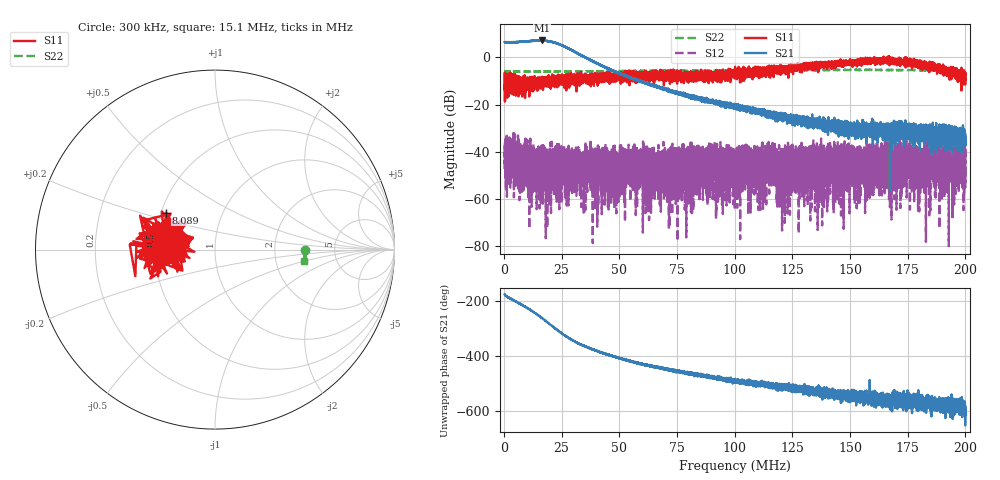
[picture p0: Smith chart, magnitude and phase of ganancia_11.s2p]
# Hz S DB R 50
! CMT, M5065, 19127446, 24.2.4/2
! Date: 10/29/2024 1:07:48 PM
! Data: Format (Calibration Info)
! Freq	S11:dB/Ang(F2)	S21:dB/Ang(F2)	S12:dB/Ang(F2)	S22:dB/Ang(F2)
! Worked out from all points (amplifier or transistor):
!   9000 points, 300 kHz to 200 MHz, reference 50 ohm
!   highest |S21| = 7.1 dB at 16.52 MHz (marker M1)
!   |S21| within 3 dB of that: start of sweep to 27.12 MHz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
!   unconditionally stable (mu >= 1): start of sweep to 160.5 MHz; 167 MHz to 174 MHz; 174 MHz to end of sweep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
!   at 33.59 MHz: K = 53.77, MAG = 2.8 dB, |S12| = -45.5 dB
!   at 100.2 MHz: K = 684.79, MAG = -19.0 dB, |S12| = -45.8 dB
!   at 200 MHz: K = 2784.50, MAG = -32.9 dB, |S12| = -44.4 dB
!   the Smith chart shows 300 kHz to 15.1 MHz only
!   S11 on the Smith chart (normalised r, x): 300 kHz: 0.61, -0.03; 8.089 MHz: 0.53, +0.25; 15.1 MHz: 0.55, +0.07
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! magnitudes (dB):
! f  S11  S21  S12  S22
! 300 kHz  -12.4  6.4  -47.2  -6.0
! 3.229 MHz  -9.2  6.3  -43.2  -6.0
! 8.089 MHz  -9.4  6.6  -37.5  -6.0
! 15.1 MHz  -10.7  7.0  -56.0  -6.0
! 16.52 MHz  -10.7  7.1  -48.2  -6.0
! 33.59 MHz  -7.6  0.7  -45.5  -5.9
! 36.98 MHz  -9.9  -0.8  -40.8  -5.9
! 39.67 MHz  -9.2  -2.3  -49.9  -5.9
! 44.06 MHz  -8.2  -4.3  -46.0  -5.9
! 49.25 MHz  -9.3  -6.4  -53.1  -5.8
! 56.11 MHz  -8.2  -9.1  -40.4  -5.8
! 58.04 MHz  -7.5  -9.5  -51.4  -5.8
! 66.87 MHz  -7.6  -12.6  -50.5  -5.8
! 100.2 MHz  -8.5  -21.0  -45.8  -5.7
! 104.9 MHz  -6.3  -22.4  -42.5  -5.7
! 120.2 MHz  -4.7  -24.5  -52.9  -5.6
! 133.4 MHz  -4.1  -26.6  -57.4  -5.4
! 138.3 MHz  -2.2  -27.7  -47.2  -5.4
! 141.5 MHz  -3.3  -27.6  -39.1  -5.4
! 146.4 MHz  -2.9  -32.6  -41.0  -5.4
! 166.7 MHz  -1.9  -33.0  -48.1  -5.4
! 200 MHz  -7.4  -35.2  -44.4  -5.5
